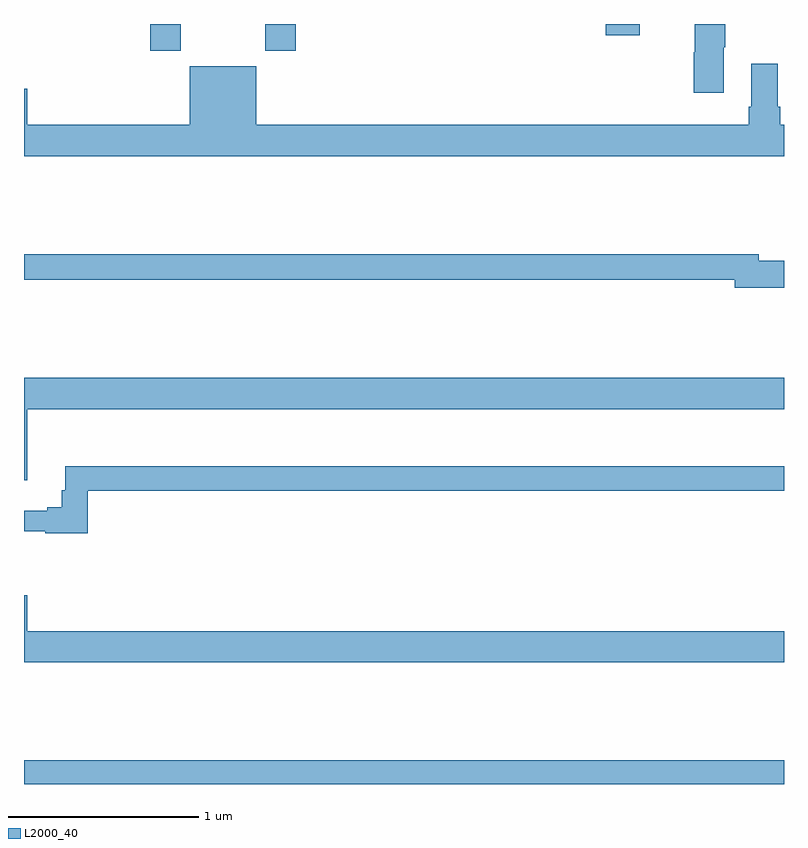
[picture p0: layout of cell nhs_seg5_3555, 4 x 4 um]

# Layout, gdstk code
import gdstk
lib = gdstk.Library(unit=1e-6, precision=1e-09)
def R(c, l, rs):  # rectangles x0, y0, x1, y1
    for r in rs: c.add(gdstk.rectangle(r[:2], r[2:], *l))
def P(c, l, *ps):  # polygons
    for p in ps: c.add(gdstk.Polygon(p, *l))
L2000_40 = (2000, 40)

nhs_seg5_3555 = lib.new_cell('nhs_seg5_3555')
R(nhs_seg5_3555, L2000_40, [(321,842.799,325,842.924), (321.665,846.657,321.825,846.799), (322.27,846.657,322.43,846.799), (324.062,846.741,324.24,846.799)])
P(nhs_seg5_3555, L2000_40, [(324.682,846.676),(324.69,846.676),(324.69,846.799),(324.529,846.799),(324.529,846.65),(324.524,846.65),(324.524,846.438),(324.682,846.438)],
  [(325,846.268),(324.98,846.268),(324.98,846.364),(324.967,846.364),(324.967,846.589),(324.827,846.589),(324.827,846.364),(324.815,846.364),(324.815,846.268),(322.222,846.268),(322.222,846.577),(321.872,846.577),(321.872,846.268),(321.016,846.268),(321.016,846.457),(321,846.457),(321,846.104),(325,846.104)],
  [(325,845.552),(324.868,845.552),(324.868,845.588),(321,845.588),(321,845.452),(324.74,845.452),(324.74,845.41),(325,845.41)],
  [(321.016,844.772),(325,844.772),(325,844.936),(321,844.936),(321,844.398),(321.016,844.398)],
  [(321.335,844.342),(325,844.342),(325,844.471),(321.218,844.471),(321.218,844.344),(321.199,844.344),(321.199,844.256),(321.122,844.256),(321.122,844.237),(321,844.237),(321,844.128),(321.112,844.128),(321.112,844.12),(321.335,844.12)],
  [(325,843.604),(321.016,843.604),(321.016,843.793),(321,843.793),(321,843.44),(325,843.44)])

lib.write_gds('nhs_seg5_3555.gds')
